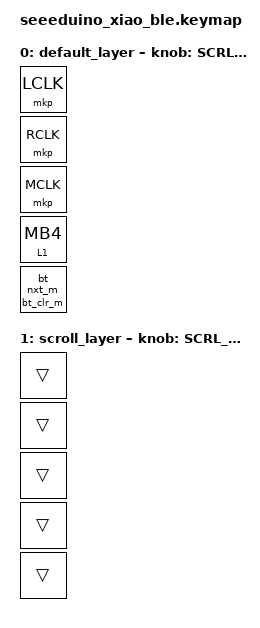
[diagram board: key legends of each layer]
#include <behaviors.dtsi>
#include <dt-bindings/zmk/keys.h>
#include <dt-bindings/zmk/bt.h>
#include <dt-bindings/zmk/pointing.h>

/ {
    // Bluetoothコマンドを直接呼び出すとエラーになるため、マクロで包む
    macros {
        bt_nxt_m: bt_nxt_macro {
            compatible = "zmk,behavior-macro";
            #binding-cells = <0>;
            bindings = <&bt BT_NXT>;
        };

        bt_clr_m: bt_clr_macro {
            compatible = "zmk,behavior-macro";
            #binding-cells = <0>;
            bindings = <&bt BT_CLR>;
        };
    };

    behaviors {
        // マウスボタンとレイヤー切り替えの併用（SW4用）
        lt_mkp: layer_tap_mouse_kp {
            compatible = "zmk,behavior-hold-tap";
            #binding-cells = <2>;
            flavor = "tap-preferred";
            tapping-term-ms = <200>;
            bindings = <&mo>, <&mkp>;
        };

        // BLEプロファイル切り替え用：短押しで次へ(NXT)、長押しで削除(CLR)
        bt_mode: bt_mode_hold_tap {
            compatible = "zmk,behavior-hold-tap";
            #binding-cells = <2>;
            flavor = "hold-preferred"; /* 長押しを優先して確実に判定 */
            tapping-term-ms = <2000>;  /* 2.0秒長押しでペアリング解除 */
            bindings = <&bt_clr_m>, <&bt_nxt_m>;
        };

        rot_msc_v: sensor_rotate_msc_v {
            compatible = "zmk,behavior-sensor-rotate-var";
            #sensor-binding-cells = <2>;
            bindings = <&msc>, <&msc>;
            tap-ms = <20>;
        };

        rot_msc_h: sensor_rotate_msc_h {
            compatible = "zmk,behavior-sensor-rotate-var";
            #sensor-binding-cells = <2>;
            bindings = <&msc>, <&msc>;
            tap-ms = <20>;
        };
    };

    keymap {
        compatible = "zmk,keymap";

        default_layer {
            bindings = <
                &mkp LCLK
                &mkp RCLK
                &mkp MCLK
                &lt_mkp 1 MB4
                &bt_mode 0 0    // 短押し: プロファイル切替, 長押し(2.0秒): ペアリング解除
            >;
            sensor-bindings = <&rot_msc_v SCRL_DOWN SCRL_UP>;
        };

        scroll_layer {
            bindings = <
                &trans
                &trans
                &trans
                &trans
                &trans
            >;
            sensor-bindings = <&rot_msc_h SCRL_RIGHT SCRL_LEFT>;
        };
    };
};
